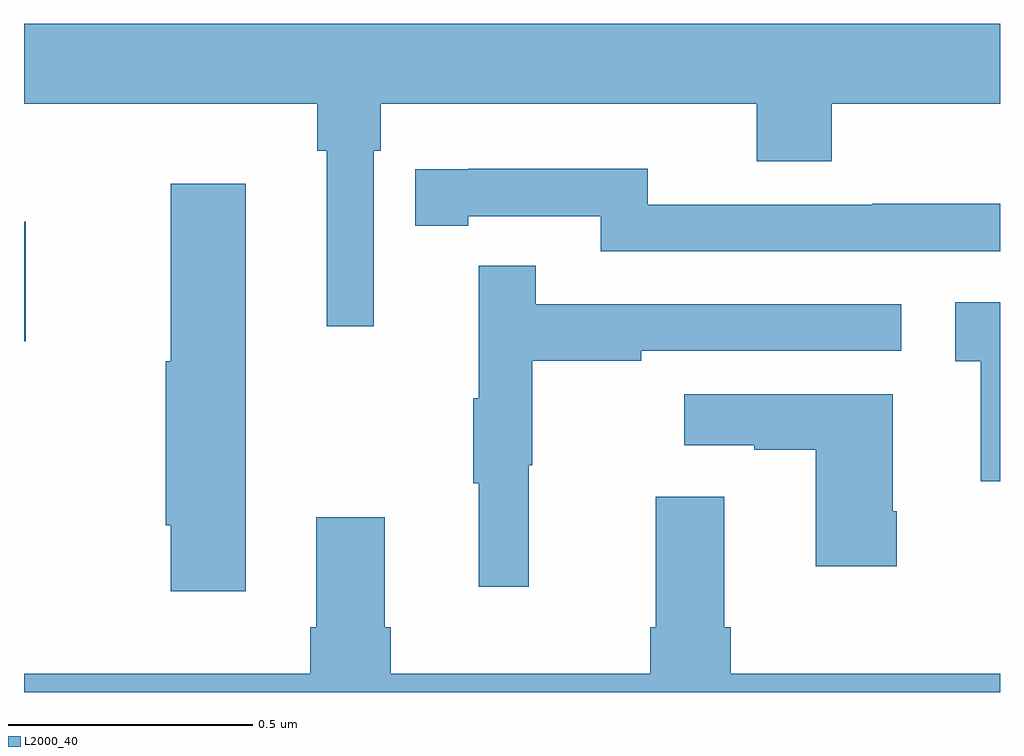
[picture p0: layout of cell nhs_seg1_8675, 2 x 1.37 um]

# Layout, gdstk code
import gdstk
lib = gdstk.Library(unit=1e-6, precision=1e-09)
def R(c, l, rs):  # rectangles x0, y0, x1, y1
    for r in rs: c.add(gdstk.rectangle(r[:2], r[2:], *l))
def P(c, l, *ps):  # polygons
    for p in ps: c.add(gdstk.Polygon(p, *l))
L2000_40 = (2000, 40)

nhs_seg1_8675 = lib.new_cell('nhs_seg1_8675')
R(nhs_seg1_8675, L2000_40, [(219,545.918,219.004,546.163)])
P(nhs_seg1_8675, L2000_40, [(219.717,546.308),(219.731,546.308),(219.731,546.404),(220.502,546.404),(220.502,546.287),(220.655,546.287),(220.655,546.404),(221,546.404),(221,546.568),(219,546.568),(219,546.404),(219.601,546.404),(219.601,546.308),(219.62,546.308),(219.62,545.949),(219.717,545.949)],
  [(221,546.2),(220.738,546.2),(220.738,546.198),(220.278,546.198),(220.278,546.271),(219.91,546.271),(219.91,546.27),(219.802,546.27),(219.802,546.154),(219.91,546.154),(219.91,546.174),(220.182,546.174),(220.182,546.102),(221,546.102)],
  [(219.454,546.241),(219.301,546.241),(219.301,545.877),(219.29,545.877),(219.29,545.541),(219.301,545.541),(219.301,545.406),(219.454,545.406)],
  [(220.034,545.664),(220.042,545.664),(220.042,545.878),(220.265,545.878),(220.265,545.898),(220.798,545.898),(220.798,545.994),(220.049,545.994),(220.049,546.073),(219.932,546.073),(219.932,545.801),(219.921,545.801),(219.921,545.627),(219.932,545.627),(219.932,545.415),(220.034,545.415)],
  [(221,545.998),(220.908,545.998),(220.908,545.877),(220.961,545.877),(220.961,545.631),(221,545.631)],
  [(220.788,545.569),(220.78,545.569),(220.78,545.809),(220.353,545.809),(220.353,545.705),(220.496,545.705),(220.496,545.695),(220.622,545.695),(220.622,545.457),(220.788,545.457)],
  [(221,545.236),(220.448,545.236),(220.448,545.332),(220.435,545.332),(220.435,545.599),(220.295,545.599),(220.295,545.332),(220.283,545.332),(220.283,545.236),(219.752,545.236),(219.752,545.332),(219.739,545.332),(219.739,545.557),(219.599,545.557),(219.599,545.332),(219.587,545.332),(219.587,545.236),(219,545.236),(219,545.199),(221,545.199)])

lib.write_gds('nhs_seg1_8675.gds')
